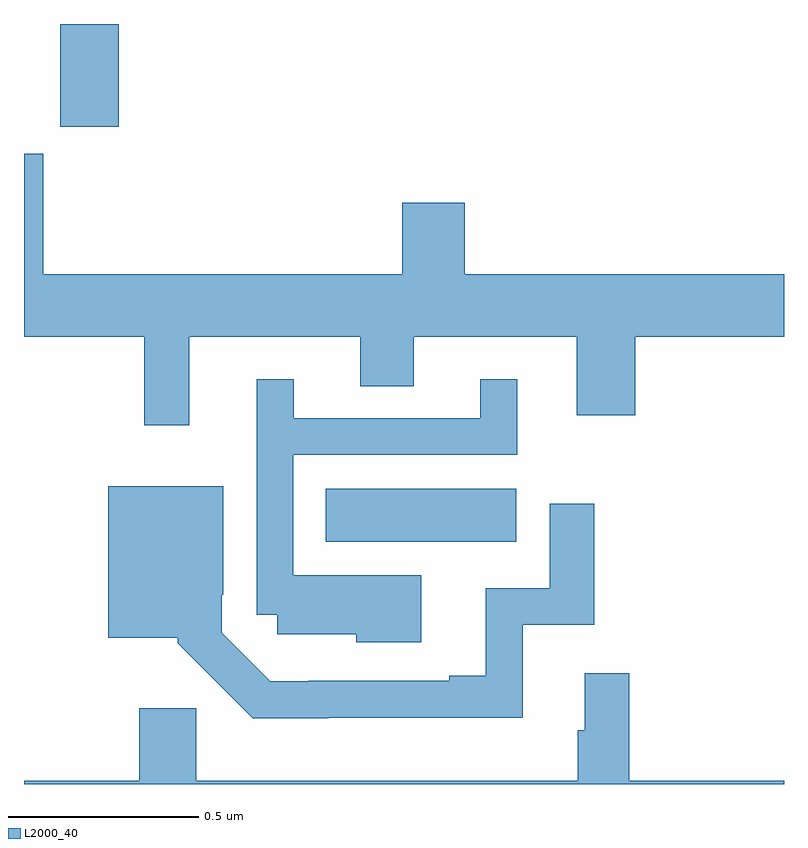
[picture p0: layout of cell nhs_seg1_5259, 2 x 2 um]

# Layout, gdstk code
import gdstk
lib = gdstk.Library(unit=1e-6, precision=1e-09)
def R(c, l, rs):  # rectangles x0, y0, x1, y1
    for r in rs: c.add(gdstk.rectangle(r[:2], r[2:], *l))
def P(c, l, *ps):  # polygons
    for p in ps: c.add(gdstk.Polygon(p, *l))
L2000_40 = (2000, 40)

nhs_seg1_5259 = lib.new_cell('nhs_seg1_5259')
R(nhs_seg1_5259, L2000_40, [(176.794,573.836,177.295,573.976), (176.096,574.929,176.249,575.199)])
P(nhs_seg1_5259, L2000_40, [(177.16,574.729),(176.996,574.729),(176.996,574.54),(176.05,574.54),(176.05,574.857),(176,574.857),(176,574.376),(176.317,574.376),(176.317,574.143),(176.435,574.143),(176.435,574.376),(176.885,574.376),(176.885,574.246),(177.025,574.246),(177.025,574.376),(177.455,574.376),(177.455,574.17),(177.608,574.17),(177.608,574.376),(178,574.376),(178,574.54),(177.16,574.54)],
  [(177.046,573.748),(176.709,573.748),(176.709,574.065),(177.298,574.065),(177.298,574.264),(177.2,574.264),(177.2,574.161),(176.71,574.161),(176.71,574.264),(176.613,574.264),(176.613,573.645),(176.667,573.645),(176.667,573.593),(176.874,573.593),(176.874,573.572),(177.046,573.572)],
  [(176.801,573.374),(177.313,573.374),(177.313,573.618),(177.5,573.618),(177.5,573.937),(177.384,573.937),(177.384,573.714),(177.215,573.714),(177.215,573.484),(177.119,573.484),(177.119,573.471),(176.749,573.471),(176.749,573.469),(176.648,573.469),(176.52,573.597),(176.52,573.697),(176.524,573.697),(176.524,573.982),(176.222,573.982),(176.222,573.584),(176.405,573.584),(176.405,573.569),(176.602,573.372),(176.801,573.372)],
  [(178,573.208),(177.593,573.208),(177.593,573.49),(177.476,573.49),(177.476,573.341),(177.457,573.341),(177.457,573.208),(176.453,573.208),(176.453,573.399),(176.303,573.399),(176.303,573.208),(176,573.208),(176,573.199),(178,573.199)])

lib.write_gds('nhs_seg1_5259.gds')
